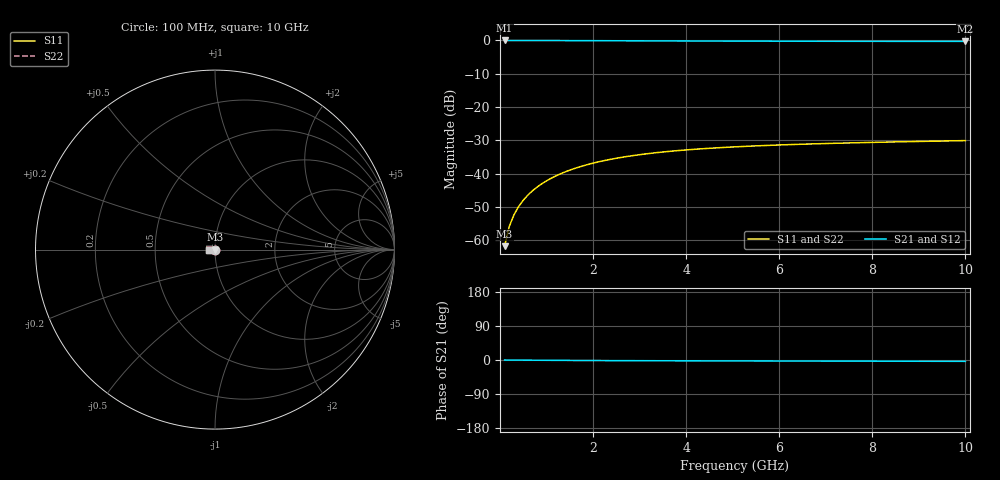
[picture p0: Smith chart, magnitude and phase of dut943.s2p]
! Touchstone file exported from HFSS 2024.1.0
!  File:  C:/UserFiles/LocalFiles/RDL_TSV_Batchsim/temp_TSV1_943_1779948380.aedt
!  Generated:  02:12:48 PM May 28, 2026
!  Design:  TSV1
!  Project:  temp_TSV1_943_1779948380
!  Setup:  Setup1
!  Solution:  Sweep
! Variables:
!  dtsv = 9.26um
!  hbump = 3um
!  htsv = 52.98um
!  lrdl = 252.1521522um
!  p = 40
!  p1 = 42.53um
!  t = 500um
!  trdl = 3um
!  wrdl = 24.89489489um
# GHz S MA R 50.000000
! Terminal data exported
! Port[1] = TSV22_T1
! Port[2] = TSV22_T2
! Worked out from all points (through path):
!   100 points, 100 MHz to 10 GHz, reference 50 ohm
!   highest |S21| = 0.00 dB at 100 MHz (marker M1); lowest = -0.3 dB at 10 GHz (marker M2)
!   lowest |S11| = -61.8 dB at 100 MHz (marker M3), VSWR 1.00, Z = 50 - j0.0801 ohm
!   |S11| at or under -10 dB: start of sweep to end of sweep
!   |S22| runs from -61.8 to -30.1 dB; largest |S21 - S12| = 6.6e-15
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0.1  0.0008091 -82.0  0.9998 -0.1  0.9998 -0.1  0.0008091 -82.0
! Gamma 0 0 0 0
! Port Impedance 50 0 50 0
0.2  0.001599 -88.5  0.9998 -0.2  0.9998 -0.2  0.001599 -88.5
0.3  0.002391 -91.8  0.9996 -0.2  0.9996 -0.2  0.002391 -91.8
0.4  0.00318 -94.2  0.9995 -0.3  0.9995 -0.3  0.00318 -94.2
0.5  0.003964 -96.4  0.9992 -0.4  0.9992 -0.4  0.003964 -96.4
0.6  0.004741 -98.3  0.999 -0.5  0.999 -0.5  0.004741 -98.3
0.7  0.00551 -100.2  0.9987 -0.6  0.9987 -0.6  0.00551 -100.2
0.8  0.006271 -102.0  0.9983 -0.6  0.9983 -0.6  0.006271 -102.0
0.9  0.007021 -103.7  0.9979 -0.7  0.9979 -0.7  0.007021 -103.7
1.1  0.008484 -107.0  0.9971 -0.9  0.9971 -0.9  0.008484 -107.0
1.4  0.01057 -111.7  0.9956 -1.1  0.9956 -1.1  0.01057 -111.6
1.6  0.01189 -114.6  0.9946 -1.2  0.9946 -1.2  0.01189 -114.6
1.8  0.01313 -117.4  0.9934 -1.3  0.9934 -1.3  0.01313 -117.4
2.1  0.01488 -121.5  0.9917 -1.5  0.9917 -1.5  0.01488 -121.5
2.5  0.01695 -126.5  0.9894 -1.6  0.9894 -1.6  0.01695 -126.5
2.9  0.01877 -131.1  0.9872 -1.8  0.9872 -1.8  0.01877 -131.1
3.4  0.02071 -136.3  0.9845 -2.0  0.9845 -2.0  0.02071 -136.3
4.2  0.02318 -143.6  0.9808 -2.2  0.9808 -2.2  0.02318 -143.6
5.1  0.02526 -150.4  0.9774 -2.5  0.9774 -2.5  0.02526 -150.4
6.7  0.02785 -160.2  0.9728 -2.8  0.9728 -2.8  0.02785 -160.2
8.4  0.02976 -168.3  0.9696 -3.2  0.9696 -3.2  0.02976 -168.3
10  0.03122 -174.8  0.9675 -3.5  0.9675 -3.5  0.03122 -174.8
